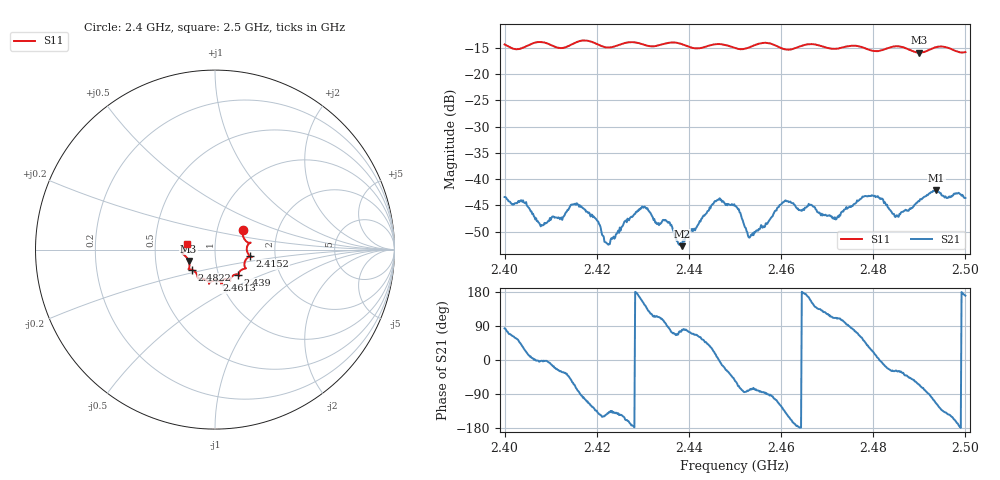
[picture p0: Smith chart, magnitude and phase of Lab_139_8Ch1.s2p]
# Hz S RI R 50
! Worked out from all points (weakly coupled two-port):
!   601 points, 2.4 GHz to 2.5 GHz, reference 50 ohm
!   highest |S21| = -42.09 dB at 2.4937 GHz (marker M1); lowest = -52.8 dB at 2.4385 GHz (marker M2)
!   lowest |S11| = -15.9 dB at 2.49 GHz (marker M3), VSWR 1.38, Z = 36.9 - j4.81 ohm
!   |S11| at or under -10 dB: start of sweep to end of sweep
!   S12 and S22 are empty: the file has one direction only
!   S11 on the Smith chart (normalised r, x): 2.4 GHz: 1.33, +0.31; 2.4152 GHz: 1.48, -0.11; 2.439 GHz: 1.24, -0.36; 2.4613 GHz: 0.96, -0.34; 2.4822 GHz: 0.75, -0.17; 2.5 GHz: 0.72, +0.05
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2.4e9  0.156 0.1112  0.00078 0.0067  0 0  0 0
2.408e9  0.1983 0.0392  0.00365 -0.000137  0 0  0 0
2.415167e9  0.1945 -0.036  0.00241 -0.00523  0 0  0 0
2.416667e9  0.2041 -0.0416  -0.00037 -0.00546  0 0  0 0
2.422333e9  0.1677 -0.0635  -0.00186 -0.00154  0 0  0 0
2.43e9  0.1589 -0.1082  -0.00483 0.00247  0 0  0 0
2.433333e9  0.1329 -0.1325  -0.00151 0.0035  0 0  0 0
2.4385e9  0.1315 -0.1411  0.000406 0.00226  0 0  0 0
2.439e9  0.1282 -0.1393  0.000394 0.00251  0 0  0 0
2.446167e9  0.0851 -0.1736  0.00629 0.000768  0 0  0 0
2.45e9  0.0686 -0.1634  0.00318 -0.00453  0 0  0 0
2.453333e9  0.0371 -0.1777  0.00067 -0.00277  0 0  0 0
2.461333e9  0.00799 -0.171  -0.00502 -0.00357  0 0  0 0
2.466667e9  -0.0332 -0.1903  -0.00494 0.00271  0 0  0 0
2.471667e9  -0.0617 -0.1628  -0.00155 0.00403  0 0  0 0
2.478e9  -0.0973 -0.1491  0.00431 0.0053  0 0  0 0
2.482167e9  -0.1286 -0.1118  0.0062 -0.0012  0 0  0 0
2.483333e9  -0.1397 -0.1103  0.00486 -0.00212  0 0  0 0
2.485167e9  -0.1478 -0.1101  0.00392 -0.00223  0 0  0 0
2.49e9  -0.1469 -0.0635  0.0026 -0.00557  0 0  0 0
2.493667e9  -0.1792 -0.0247  -0.00326 -0.00715  0 0  0 0
2.5e9  -0.1586 0.0338  -0.00651 0.00118  0 0  0 0
